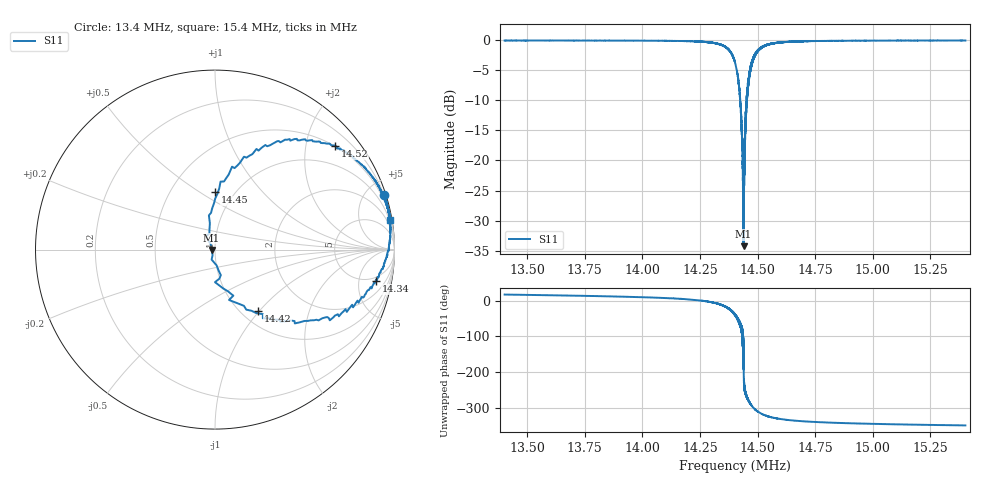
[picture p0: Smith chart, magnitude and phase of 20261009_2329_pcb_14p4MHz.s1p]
# HZ S RI R 50
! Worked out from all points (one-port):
!   20200 points, 13.4 MHz to 15.4 MHz, reference 50 ohm
!   lowest |S11| = -34.2 dB at 14.44 MHz (marker M1), VSWR 1.04, Z = 48.1 - j0.204 ohm
!   |S11| at or under -10 dB: 14.42448 MHz to 14.452 MHz (27.51 kHz wide, 0.191 % of centre); 14.45207 MHz to 14.45234 MHz (270.9 Hz wide, 0.00187 % of centre); 14.45249 MHz to 14.45272 MHz (231.4 Hz wide, 0.0016 % of centre)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
!   S11 on the Smith chart (normalised r, x): 13.4 MHz: 0.19, +6.32; 14.34 MHz: 4.08, -8.49; 14.42 MHz: 1.19, -0.98; 14.45 MHz: 0.81, +0.58; 14.52 MHz: 0.50, +2.61; 15.4 MHz: 1, +12
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1.340195e7  0.9426 0.3056
1.365192e7  0.9558 0.2619
1.39019e7  0.9674 0.2097
1.415187e7  0.9772 0.1091
1.427008e7  0.9647 -0.00607
1.434166e7  0.8962 -0.1735
1.437621e7  0.7641 -0.3074
1.438938e7  0.6581 -0.3702
1.440185e7  0.5062 -0.413
1.441145e7  0.3501 -0.4068
1.441937e7  0.2389 -0.3417
1.442502e7  0.1209 -0.2786
1.443244e7  0.0375 -0.1497
1.443571e7  0.00373 -0.0802
1.443927e7  -0.0193 -0.00212
1.444264e7  -0.0798 0.1225
1.444551e7  -0.07 0.1911
1.445274e7  -0.00142 0.3194
1.445699e7  0.0429 0.3795
1.446194e7  0.102 0.4835
1.447511e7  0.2726 0.5687
1.449719e7  0.5052 0.6087
1.452164e7  0.6691 0.576
1.457134e7  0.8055 0.483
1.465182e7  0.8894 0.3878
1.49018e7  0.9512 0.2666
1.515177e7  0.969 0.2066
1.540165e7  0.9776 0.1642
